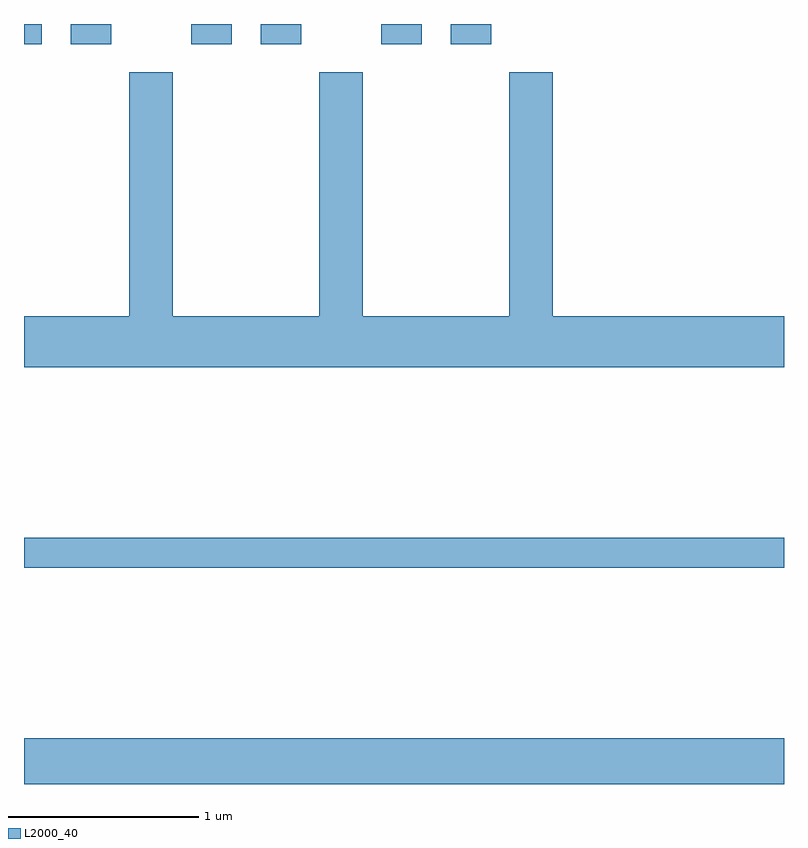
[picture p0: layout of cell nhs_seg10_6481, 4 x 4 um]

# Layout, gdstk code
import gdstk
lib = gdstk.Library(unit=1e-6, precision=1e-09)
def R(c, l, rs):  # rectangles x0, y0, x1, y1
    for r in rs: c.add(gdstk.rectangle(r[:2], r[2:], *l))
def P(c, l, *ps):  # polygons
    for p in ps: c.add(gdstk.Polygon(p, *l))
L2000_40 = (2000, 40)

nhs_seg10_6481 = lib.new_cell('nhs_seg10_6481')
R(nhs_seg10_6481, L2000_40, [(375.611,2200.522,379.611,2200.764), (375.611,2201.661,379.611,2201.819), (375.611,2204.416,375.704,2204.522), (375.856,2204.416,376.069,2204.522), (376.491,2204.416,376.704,2204.522), (376.856,2204.416,377.069,2204.522), (377.491,2204.416,377.704,2204.522), (377.856,2204.416,378.069,2204.522)])
P(nhs_seg10_6481, L2000_40, [(379.611,2202.984),(378.394,2202.984),(378.394,2204.269),(378.166,2204.269),(378.166,2202.984),(377.394,2202.984),(377.394,2204.269),(377.166,2204.269),(377.166,2202.984),(376.394,2202.984),(376.394,2204.269),(376.166,2204.269),(376.166,2202.984),(375.611,2202.984),(375.611,2202.716),(379.611,2202.716)])

lib.write_gds('nhs_seg10_6481.gds')
